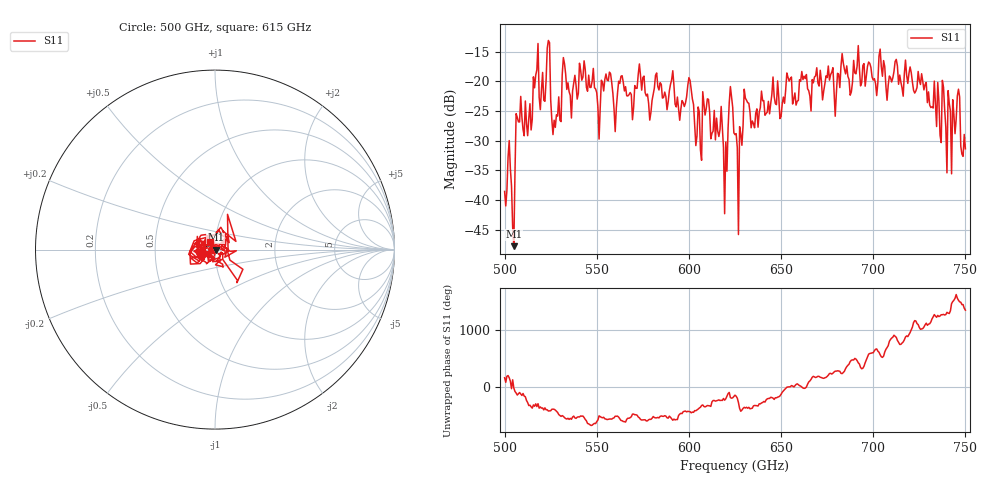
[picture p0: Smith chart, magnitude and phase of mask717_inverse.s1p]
!Created with skrf (http://scikit-rf.org).
# GHz S MA R 50.0
!freq magS11 angS11
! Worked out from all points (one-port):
!   401 points, 500 GHz to 750 GHz, reference 50 ohm
!   lowest |S11| = -47.7 dB at 505 GHz (marker M1), VSWR 1.01, Z = 50.4 - j0.123 ohm
!   |S11| at or under -10 dB: start of sweep to end of sweep
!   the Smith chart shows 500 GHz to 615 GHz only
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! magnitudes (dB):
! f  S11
! 500 GHz  -38.5
! 505 GHz  -47.7
! 507.5 GHz  -26.8
! 513.8 GHz  -23.8
! 516.9 GHz  -19.0
! 520.6 GHz  -18.5
! 523.8 GHz  -13.1
! 526.9 GHz  -26.5
! 531.2 GHz  -18.9
! 556.2 GHz  -19.9
! 560 GHz  -28.5
! 562.5 GHz  -20.3
! 593.8 GHz  -22.6
! 600.6 GHz  -19.8
! 605.6 GHz  -25.1
! 608.8 GHz  -25.7
! 619.4 GHz  -42.3
! 622.5 GHz  -20.9
! 625 GHz  -29.0
! 627.5 GHz  -27.6
! 631.2 GHz  -23.2
! 635 GHz  -27.1
! 656.2 GHz  -23.8
! 687.5 GHz  -22.3
! 718.8 GHz  -20.3
! 741.2 GHz  -23.7
! 745.6 GHz  -22.5
! 750 GHz  -31.4
